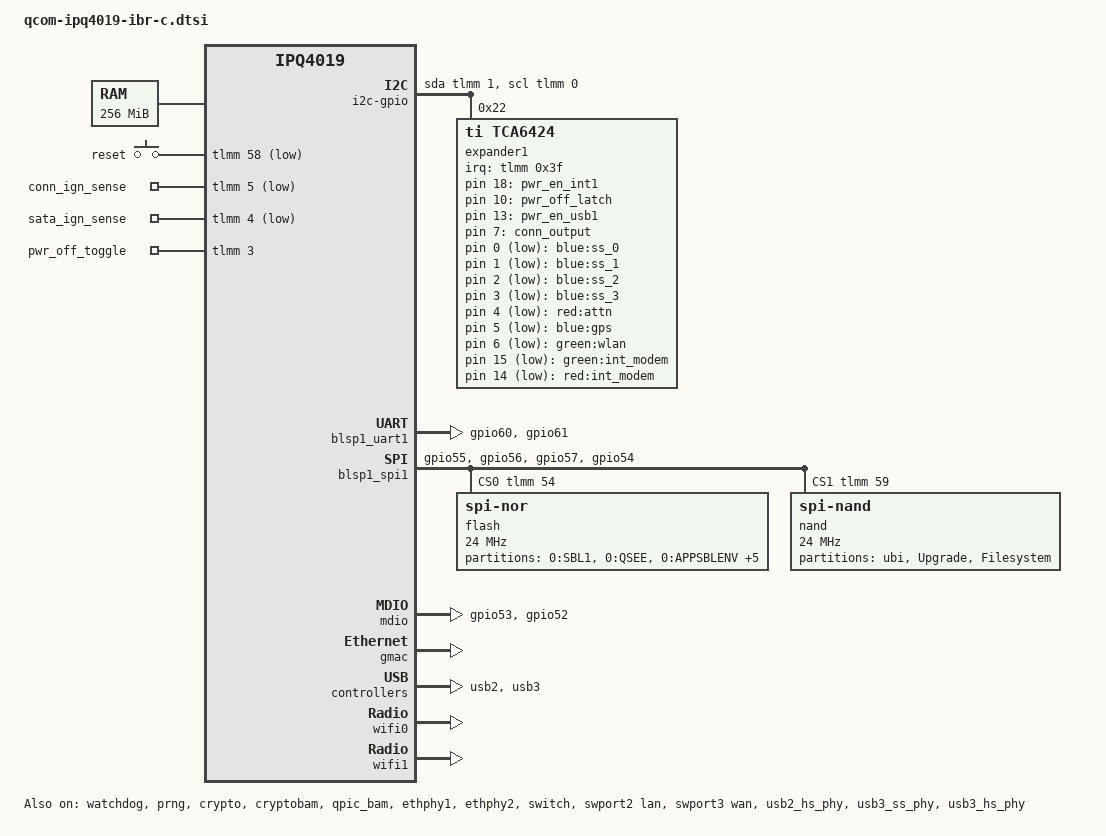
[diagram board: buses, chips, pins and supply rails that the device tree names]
// SPDX-License-Identifier: GPL-2.0-or-later
/* Copyright (c) 2025-2026 Natalie Moore <natalie@natalielucy.dev> */
/* Copyright (c) 2025 P. McDonnell <support@ipfm.systems> */

#include "qcom-ipq4019.dtsi"
#include <dt-bindings/gpio/gpio.h>
#include <dt-bindings/input/input.h>
#include <dt-bindings/leds/common.h>
#include <dt-bindings/soc/qcom,tcsr.h>

/ {
	aliases {
		led-failsafe = &led_attn_red;
		led-upgrade = &led_attn_red;
		label-mac-device = &gmac;
	};

	memory {
		device_type = "memory";
		reg = <0x80000000 0x10000000>;
	};

	reserved-memory {
		#address-cells = <0x01>;
		#size-cells = <0x01>;
		ranges;

		rsvd1@87000000 {
			reg = <0x87000000 0x500000>;
			no-map;
		};

		wifi_dump@87500000 {
			reg = <0x87500000 0x600000>;
			no-map;
		};

		rsvd2@87B00000 {
			reg = <0x87b00000 0x500000>;
			no-map;
		};
	};

	chosen {
		bootargs-append = " ubi.mtd=ubi ubi.mtd=Filesystem ubi.block=0,1 root=/dev/ubiblock0_1";
	};

	soc {
		ess_tcsr@1953000 {
			compatible = "qcom,tcsr";
			reg = <0x1953000 0x1000>;
			qcom,ess-interface-select = <TCSR_ESS_PSGMII>;
		};

		tcsr@1949000 {
			compatible = "qcom,tcsr";
			reg = <0x1949000 0x100>;
			qcom,wifi_glb_cfg = <TCSR_WIFI_GLB_CFG>;
		};

		tcsr@1957000 {
			compatible = "qcom,tcsr";
			reg = <0x1957000 0x100>;
			qcom,wifi_noc_memtype_m0_m2 = <TCSR_WIFI_NOC_MEMTYPE_M0_M2>;
		};
	};

	/* SW I2C Expander */
	i2c-gpio {
		compatible = "i2c-gpio";

		sda-gpios = <&tlmm 1 (GPIO_ACTIVE_HIGH | GPIO_OPEN_DRAIN)>;
		scl-gpios = <&tlmm 0 (GPIO_ACTIVE_HIGH | GPIO_OPEN_DRAIN)>;

		i2c-gpio,delay-us = <0x02>;

		#address-cells = <0x01>;
		#size-cells = <0x00>;

		status = "okay";

		expander1: gpio@22 {
			compatible = "ti,tca6424";
			reg = <0x22>;
			gpio-controller;
			#gpio-cells = <0x02>;

			interrupts = <0x3f 0x00>;
			interrupt-parent = <&tlmm>;

			status = "okay";
		};
	};

	keys {
		compatible = "gpio-keys";

		reset {
			label = "reset";
			gpios = <&tlmm 58 GPIO_ACTIVE_LOW>;
			linux,code = <KEY_RESTART>;
		};
	};

	gpio_export {
		compatible = "gpio-export";

		conn_ign_sense {
			gpio-export,name = "conn_ign_sense";
			gpio-export,input = <0>;
			gpio-export,direction_may_change = <0>;
			gpios = <&tlmm 5 GPIO_ACTIVE_LOW>;
		};

		sata_ign_sense {
			gpio-export,name = "sata_ign_sense";
			gpio-export,input = <0>;
			gpio-export,direction_may_change = <0>;
			gpios = <&tlmm 4 GPIO_ACTIVE_LOW>;
		};

		pwr_off_toggle {
			gpio-export,name = "pwr_off_toggle";
			gpio-export,output = <0>;
			gpio-export,direction_may_change = <0>;
			gpios = <&tlmm 3 GPIO_ACTIVE_HIGH>;
		};

		pwr_en_int1 {
			gpio-export,name = "pwr_en_int1";
			gpio-export,output = <1>;
			gpio-export,direction_may_change = <0>;
			gpios = <&expander1 18 GPIO_ACTIVE_HIGH>;
		};

		pwr_off_latch {
			gpio-export,name = "pwr_off_latch";
			gpio-export,output = <0>;
			gpio-export,direction_may_change = <0>;
			gpios = <&expander1 10 GPIO_ACTIVE_HIGH>;
		};

		pwr_en_usb1 {
			gpio-export,name = "pwr_en_usb1";
			gpio-export,output = <1>;
			gpio-export,direction_may_change = <0>;
			gpios = <&expander1 13 GPIO_ACTIVE_HIGH>;
		};

		conn_output {
			gpio-export,name = "conn_output";
			gpio-export,output = <0>;
			gpio-export,direction_may_change = <0>;
			gpios = <&expander1 7 GPIO_ACTIVE_HIGH>;
		};
	};

	leds {
		compatible = "gpio-leds";

		led_ss_0_blue: led-7 {
			gpios = <&expander1 0 GPIO_ACTIVE_LOW>;
			label = "blue:ss_0";
		};

		led_ss_1_blue: led-8 {
			gpios = <&expander1 1 GPIO_ACTIVE_LOW>;
			label = "blue:ss_1";
		};

		led_ss_2_blue: led-9 {
			gpios = <&expander1 2 GPIO_ACTIVE_LOW>;
			label = "blue:ss_2";
		};

		led_ss_3_blue: led-10 {
			gpios = <&expander1 3 GPIO_ACTIVE_LOW>;
			label = "blue:ss_3";
		};

		led_attn_red: led-11 {
			gpios = <&expander1 4 GPIO_ACTIVE_LOW>;
			label = "red:attn";
		};

		led_gps_blue: led-12 {
			gpios = <&expander1 5 GPIO_ACTIVE_LOW>;
			label = "blue:gps";
		};

		led_wlan_green: led-13 {
			gpios = <&expander1 6 GPIO_ACTIVE_LOW>;
			label = "green:wlan";
		};

		led_int_modem_green: led-15 {
			gpios = <&expander1 15 GPIO_ACTIVE_LOW>;
			label = "green:int_modem";
		};

		led_int_modem_red: led-16 {
			gpios = <&expander1 14 GPIO_ACTIVE_LOW>;
			label = "red:int_modem";
		};
	};
};

&watchdog {
	status = "okay";
};

&prng {
	status = "okay";
};

&crypto {
	status = "okay";
};

&blsp_dma {
	status = "okay";
};

&blsp1_uart1 {
	status = "okay";
	pinctrl-0 = <&serial_0_pins>;
	pinctrl-names = "default";
};

&blsp1_spi1 {
	status = "okay";

	pinctrl-0 = <&spi_0_pins>;
	pinctrl-names = "default";
	cs-gpios = <&tlmm 54 GPIO_ACTIVE_HIGH>,
			   <&tlmm 59 GPIO_ACTIVE_HIGH>;

	flash@0 {
		compatible = "jedec,spi-nor";
		spi-max-frequency = <24000000>;
		reg = <0>;

		#address-cells = <1>;
		#size-cells = <1>;

		partitions {
			compatible = "fixed-partitions";
			#address-cells = <1>;
			#size-cells = <1>;

			partition0@0 {
				label = "0:SBL1";
				reg = <0x00000000 0x00040000>;
				read-only;
			};

			partition1@60000 {
				label = "0:QSEE";
				reg = <0x00060000 0x00060000>;
				read-only;
			};

			partition2@e0000 {
				label = "0:APPSBLENV"; /* uboot env */
				reg = <0x000e0000 0x00010000>;
				read-only;
			};

			partition3@f0000 {
				label = "0:APPSBL"; /* uboot */
				reg = <0x000f0000 0x00080000>;
				read-only;
			};

			partition4@170000 {
				label = "0:ART";
				reg = <0x00170000 0x00010000>;
				read-only;
			};

			partition5@180000 {
				label = "0:CUSTDATA";
				reg = <0x00180000 0x00010000>;
				read-only;
			};

			partition6@190000 {
				label = "Filemanager";
				reg = <0x00190000 0x00040000>;
				read-only;
			};

			partition7@1d0000 {
				label = "2nd Filemanager";
				reg = <0x001d0000 0x00040000>;
				read-only;
			};
		};
	};

	nand@1 {
		compatible = "spi-nand", "spinand,mt29f";
		#address-cells = <1>;
		#size-cells = <1>;
		reg = <1>;
		spi-max-frequency = <24000000>;

		partitions {
			compatible = "fixed-partitions";
			#address-cells = <1>;
			#size-cells = <1>;

			partition0@0 {
				label = "ubi";
				reg = <0x00000000 0x01f00000>;
			};

			partition1@3800000 {
				label = "Upgrade";
				reg = <0x01f00000 0x01f00000>;
			};

			partition2@7000000 {
				label = "Filesystem";
				reg = <0x03e00000 0x0C200000>;
			};
		};
	};
};

&cryptobam {
	status = "okay";
};

&qpic_bam {
	status = "okay";
};

&tlmm {
	mdio_pins: mdio_pinmux {
		mux_1 {
			pins = "gpio53";
			function = "mdio";
			bias-pull-up;
		};
		mux_2 {
			pins = "gpio52";
			function = "mdc";
			bias-pull-up;
		};
	};

	spi_0_pins: spi_0_pinmux {
		pin {
			function = "blsp_spi0";
			pins = "gpio55", "gpio56", "gpio57";
			drive-strength = <12>;
			bias-disable;
		};
		pin_cs {
			function = "gpio";
			pins = "gpio54";
			drive-strength = <2>;
			bias-disable;
			output-high;
		};
	};

	serial_0_pins: serial_0_pinmux {
		mux {
			pins = "gpio60", "gpio61";
			function = "blsp_uart0";
			bias-disable;
		};
	};
};

&mdio {
	status = "okay";
	pinctrl-0 = <&mdio_pins>;
	pinctrl-names = "default";
};

&gmac {
	status = "okay";
};

&ethphy1 {
	status = "okay";
};

&ethphy2 {
	status = "okay";
};

&switch {
	status = "okay";
};

&swport2 {
	status = "okay";
	label = "lan";
};

&swport3 {
	status = "okay";
	label = "wan";
};

&usb2 {
	status = "okay";
};

&usb2_hs_phy {
	status = "okay";
};

&usb3 {
	status = "okay";
};

&usb3_ss_phy {
	status = "okay";
};

&usb3_hs_phy {
	status = "okay";
};

&wifi0 {
	status = "okay";
};

&wifi1 {
	status = "okay";
};
